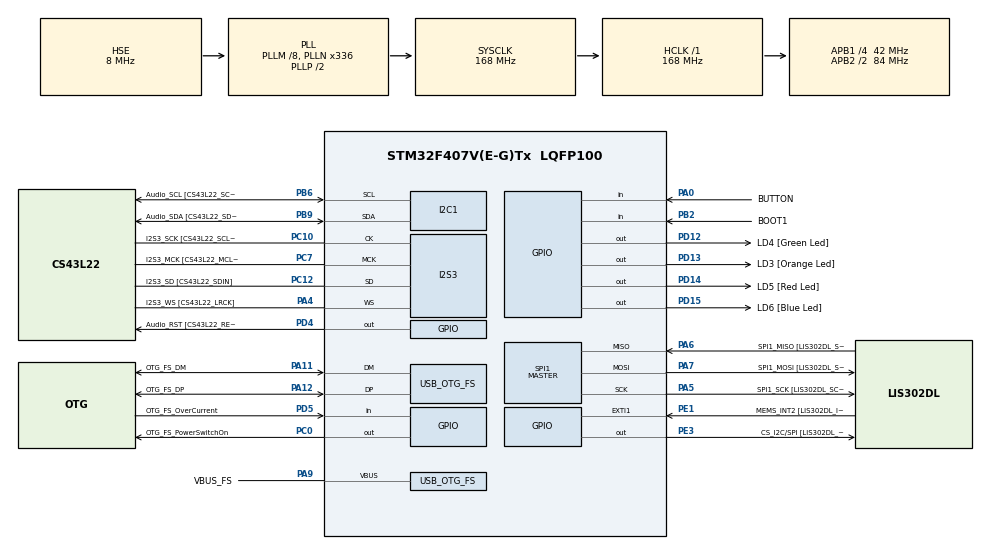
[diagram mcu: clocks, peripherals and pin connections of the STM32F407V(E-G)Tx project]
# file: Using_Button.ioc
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I2S3.AudioFreq-Half_Duplex_Master=I2S_AUDIOFREQ_96K
I2S3.ErrorAudioFreq=-2.34 %
I2S3.ErrorAudioFreq-Half_Duplex_Master=0.8 %
I2S3.FullDuplexMode=I2S_FULLDUPLEXMODE_DISABLE
I2S3.Instance=SPI$Index
I2S3.RealAudioFreq=93.75 KHz
I2S3.RealAudioFreq-Half_Duplex_Master=96.774 KHz
I2S3.VirtualMode=I2S_MODE_MASTER
Mcu.Family=STM32F4
Mcu.Name=STM32F407V(E-G)Tx
Mcu.Package=LQFP100
NVIC.OTG_FS_IRQn=true\:0\:0\:false\:false\:true\:true\:true\:true
NVIC.PriorityGroup=NVIC_PRIORITYGROUP_0
PA0-WKUP.GPIO_Label=BUTTON
PA0-WKUP.Signal=GPIO_Input
PA10.GPIO_Label=OTG_FS_ID
PA10.GPIO_Mode=GPIO_MODE_AF_PP
PA10.GPIO_PuPd=GPIO_NOPULL
PA10.GPIO_Speed=GPIO_SPEED_FREQ_LOW
PA10.Signal=USB_OTG_FS_ID
PA11.GPIO_Label=OTG_FS_DM
PA11.GPIO_Mode=GPIO_MODE_AF_PP
PA11.GPIO_PuPd=GPIO_NOPULL
PA11.GPIO_Speed=GPIO_SPEED_FREQ_LOW
PA11.Mode=Host_Only
PA11.Signal=USB_OTG_FS_DM
PA12.GPIO_Label=OTG_FS_DP
PA12.GPIO_Mode=GPIO_MODE_AF_PP
PA12.GPIO_PuPd=GPIO_NOPULL
PA12.GPIO_Speed=GPIO_SPEED_FREQ_LOW
PA12.Mode=Host_Only
PA12.Signal=USB_OTG_FS_DP
PA13.GPIO_Label=SWDIO
PA13.Mode=Serial_Wire
PA13.Signal=SYS_JTMS-SWDIO
PA14.GPIO_Label=SWCLK
PA14.Mode=Serial_Wire
PA14.Signal=SYS_JTCK-SWCLK
PA4.GPIO_Label=I2S3_WS [CS43L22_LRCK]
PA4.GPIO_Mode=GPIO_MODE_AF_PP
PA4.GPIO_PuPd=GPIO_NOPULL
PA4.GPIO_Speed=GPIO_SPEED_FREQ_LOW
PA4.Mode=Half_Duplex_Master
PA4.Signal=I2S3_WS
PA5.GPIO_Label=SPI1_SCK [LIS302DL_SCL/SPC]
PA5.GPIO_Mode=GPIO_MODE_AF_PP
PA5.GPIO_PuPd=GPIO_NOPULL
PA5.GPIO_Speed=GPIO_SPEED_FREQ_LOW
PA5.Mode=Full_Duplex_Master
PA5.Signal=SPI1_SCK
PA6.GPIO_Label=SPI1_MISO [LIS302DL_SDO]
PA6.GPIO_Mode=GPIO_MODE_AF_PP
PA6.GPIO_PuPd=GPIO_NOPULL
PA6.GPIO_Speed=GPIO_SPEED_FREQ_LOW
PA6.Mode=Full_Duplex_Master
PA6.Signal=SPI1_MISO
PA7.GPIO_Label=SPI1_MOSI [LIS302DL_SDA/SDI/SDO]
PA7.GPIO_Mode=GPIO_MODE_AF_PP
PA7.GPIO_PuPd=GPIO_NOPULL
PA7.GPIO_Speed=GPIO_SPEED_FREQ_LOW
PA7.Mode=Full_Duplex_Master
PA7.Signal=SPI1_MOSI
PA9.GPIO_Label=VBUS_FS
PA9.GPIO_Mode=GPIO_MODE_INPUT
PA9.GPIO_PuPd=GPIO_NOPULL
PA9.Mode=Activate_VBUS
PA9.Signal=USB_OTG_FS_VBUS
PB10.GPIO_Label=CLK_IN [MP45DT02_CLK]
PB10.GPIO_Mode=GPIO_MODE_AF_PP
PB10.GPIO_PuPd=GPIO_NOPULL
PB10.GPIO_Speed=GPIO_SPEED_FREQ_LOW
PB10.Signal=I2S2_CK
PB2.GPIO_Label=BOOT1
PB2.GPIO_Mode=GPIO_MODE_INPUT
PB2.GPIO_PuPd=GPIO_NOPULL
PB2.Signal=GPIO_Input
PB3.GPIO_Label=SWO
PB3.Signal=SYS_JTDO-SWO
PB6.GPIO_Label=Audio_SCL [CS43L22_SCL]
PB6.GPIO_Mode=GPIO_MODE_AF_OD
PB6.GPIO_Pu=GPIO_PULLUP
PB6.GPIO_PuPd=GPIO_NOPULL
PB6.GPIO_Speed=GPIO_SPEED_FREQ_LOW
PB6.Mode=I2C
PB6.Signal=I2C1_SCL
PB9.GPIO_Label=Audio_SDA [CS43L22_SDA]
PB9.GPIO_Mode=GPIO_MODE_AF_OD
PB9.GPIO_Pu=GPIO_PULLUP
PB9.GPIO_PuPd=GPIO_NOPULL
PB9.GPIO_Speed=GPIO_SPEED_FREQ_LOW
PB9.Mode=I2C
PB9.Signal=I2C1_SDA
PC0.GPIO_Label=OTG_FS_PowerSwitchOn
PC0.GPIO_PuPd=GPIO_NOPULL
PC0.GPIO_Speed=GPIO_SPEED_FREQ_LOW
PC0.PinState=GPIO_PIN_SET
PC0.Signal=GPIO_Output
PC10.GPIO_Label=I2S3_SCK [CS43L22_SCLK]
PC10.GPIO_Mode=GPIO_MODE_AF_PP
PC10.GPIO_PuPd=GPIO_NOPULL
PC10.GPIO_Speed=GPIO_SPEED_FREQ_LOW
PC10.Mode=Half_Duplex_Master
PC10.Signal=I2S3_CK
PC12.GPIO_Label=I2S3_SD [CS43L22_SDIN]
PC12.GPIO_Mode=GPIO_MODE_AF_PP
PC12.GPIO_PuPd=GPIO_NOPULL
PC12.GPIO_Speed=GPIO_SPEED_FREQ_LOW
PC12.Mode=Half_Duplex_Master
PC12.Signal=I2S3_SD
PC14-OSC32_IN.GPIO_Label=PC14-OSC32_IN
PC14-OSC32_IN.Mode=LSE-External-Oscillator
PC14-OSC32_IN.Signal=RCC_OSC32_IN
PC15-OSC32_OUT.GPIO_Label=PC15-OSC32_OUT
PC15-OSC32_OUT.Mode=LSE-External-Oscillator
PC15-OSC32_OUT.Signal=RCC_OSC32_OUT
PC3.GPIO_Label=PDM_OUT [MP45DT02_DOUT]
PC3.GPIO_Mode=GPIO_MODE_AF_PP
PC3.GPIO_PuPd=GPIO_NOPULL
PC3.GPIO_Speed=GPIO_SPEED_FREQ_LOW
PC3.Signal=I2S2_SD
PC7.GPIO_Label=I2S3_MCK [CS43L22_MCLK]
PC7.GPIO_Mode=GPIO_MODE_AF_PP
PC7.GPIO_PuPd=GPIO_NOPULL
PC7.GPIO_Speed=GPIO_SPEED_FREQ_LOW
PC7.Mode=Master_Clock_Activated
PC7.Signal=I2S3_MCK
PD12.GPIO_Label=LD4 [Green Led]
PD12.GPIO_PuPd=GPIO_NOPULL
PD12.GPIO_Speed=GPIO_SPEED_FREQ_LOW
PD12.Signal=GPIO_Output
PD13.GPIO_Label=LD3 [Orange Led]
PD13.GPIO_PuPd=GPIO_NOPULL
PD13.GPIO_Speed=GPIO_SPEED_FREQ_LOW
PD13.Signal=GPIO_Output
PD14.GPIO_Label=LD5 [Red Led]
PD14.GPIO_PuPd=GPIO_NOPULL
PD14.GPIO_Speed=GPIO_SPEED_FREQ_LOW
PD14.Signal=GPIO_Output
PD15.GPIO_Label=LD6 [Blue Led]
PD15.GPIO_PuPd=GPIO_NOPULL
PD15.GPIO_Speed=GPIO_SPEED_FREQ_LOW
PD15.Signal=GPIO_Output
PD4.GPIO_Label=Audio_RST [CS43L22_RESET]
PD4.GPIO_PuPd=GPIO_NOPULL
PD4.GPIO_Speed=GPIO_SPEED_FREQ_LOW
PD4.Signal=GPIO_Output
PD5.GPIO_Label=OTG_FS_OverCurrent
PD5.GPIO_Mode=GPIO_MODE_INPUT
PD5.GPIO_PuPd=GPIO_NOPULL
PD5.Signal=GPIO_Input
PE1.GPIO_Label=MEMS_INT2 [LIS302DL_INT2]
PE1.GPIO_ModeDefaultEXTI=GPIO_MODE_EVT_RISING
PE1.GPIO_PuPd=GPIO_NOPULL
PE1.Signal=GPXTI1
PE3.GPIO_Label=CS_I2C/SPI [LIS302DL_CS_I2C/SPI]
PE3.GPIO_PuPd=GPIO_NOPULL
PE3.GPIO_Speed=GPIO_SPEED_FREQ_LOW
PE3.Signal=GPIO_Output
PH0-OSC_IN.GPIO_Label=PH0-OSC_IN
PH0-OSC_IN.Mode=HSE-External-Oscillator
PH0-OSC_IN.Signal=RCC_OSC_IN
PH1-OSC_OUT.GPIO_Label=PH1-OSC_OUT
PH1-OSC_OUT.Mode=HSE-External-Oscillator
PH1-OSC_OUT.Signal=RCC_OSC_OUT
ProjectManager.HeapSize=0x200
ProjectManager.StackSize=0x400
ProjectManager.TargetToolchain=STM32CubeIDE
RCC.48MHZClocksFreq_Value=48000000
RCC.AHBFreq_Value=168000000
RCC.APB1CLKDivider=RCC_HCLK_DIV4
RCC.APB1Freq_Value=42000000
RCC.APB1TimFreq_Value=84000000
RCC.APB2CLKDivider=RCC_HCLK_DIV2
RCC.APB2Freq_Value=84000000
RCC.APB2TimFreq_Value=168000000
RCC.CortexFreq_Value=168000000
RCC.HCLKFreq_Value=168000000
RCC.HSE_VALUE=8000000
RCC.HSI_VALUE=16000000
RCC.PLLM=8
RCC.PLLN=336
RCC.PLLQ=7
RCC.SYSCLKFreq_VALUE=168000000
RCC.SYSCLKSource=RCC_SYSCLKSOURCE_PLLCLK
RCC.VCOOutputFreq_Value=336000000
SPI1.BaudRatePrescaler-Full_Duplex_Master=SPI_BAUDRATEPRESCALER_2
SPI1.CalculateBaudRate-Full_Duplex_Master=42.0 MBits/s
SPI1.Direction=SPI_DIRECTION_2LINES
SPI1.Mode=SPI_MODE_MASTER
SPI1.Mode-Full_Duplex_Master=SPI_MODE_MASTER
SPI1.VirtualType=VM_MASTER
USB_HOST.BSP.number=1
USB_HOST.USBH_HandleTypeDef-CDC_FS=hUsbHostFS
USB_HOST.VirtualModeFS=Cdc
USB_HOST0.BSP.STBoard=false
USB_HOST0.BSP.api=Unknown
USB_HOST0.BSP.instance=PC0
USB_HOST0.BSP.ip=GPIO
USB_HOST0.BSP.mode=Output
USB_HOST0.BSP.name=Drive_VBUS_FS
USB_HOST0.BSP.solution=PC0
USB_OTG_FS.VirtualMode=Host_Only
USB_OTG_FS.phy_itface=HCD_PHY_EMBEDDED
VP_USB_HOST_VS_USB_HOST_CDC_FS.Mode=CDC_FS
board=STM32F407G-DISC1

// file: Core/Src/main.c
/* USER CODE BEGIN Header */
/**
  ******************************************************************************
  * @file           : main.c
  * @brief          : Main program body
  ******************************************************************************
  * @attention
  *
  * Copyright (c) 2024 STMicroelectronics.
  * All rights reserved.
  *
  * This software is licensed under terms that can be found in the LICENSE file
  * in the root directory of this software component.
  * If no LICENSE file comes with this software, it is provided AS-IS.
  *
  ******************************************************************************
  */
/* USER CODE END Header */
#include "main.h"
#include "usb_host.h"

I2C_HandleTypeDef hi2c1;

I2S_HandleTypeDef hi2s3;

SPI_HandleTypeDef hspi1;

/* USER CODE BEGIN PV */

int delay = 500;

/* USER CODE END PV */

void SystemClock_Config(void);
static void MX_GPIO_Init(void);
static void MX_I2C1_Init(void);
static void MX_I2S3_Init(void);
static void MX_SPI1_Init(void);
void MX_USB_HOST_Process(void);

int main(void)
{

  /* MCU Configuration--------------------------------------------------------*/

  /* Reset of all peripherals, Initializes the Flash interface and the Systick. */
  HAL_Init();

  /* Configure the system clock */
  SystemClock_Config();

  /* Initialize all configured peripherals */
  MX_GPIO_Init();
  MX_I2C1_Init();
  MX_I2S3_Init();
  MX_SPI1_Init();
  MX_USB_HOST_Init();

  /* Infinite loop */
  while (1)
  {
    MX_USB_HOST_Process();

    /* USER CODE BEGIN 3 */
    		// using button
     	  /*  if(HAL_GPIO_ReadPin(BUTTON_GPIO_Port, BUTTON_Pin))
     	    {
     	    	HAL_GPIO_WritePin(LD3_GPIO_Port, LD3_Pin, 1);
     	    	HAL_GPIO_WritePin(LD4_GPIO_Port, LD4_Pin, 0);

     	    }
     	    else
     	    {
     	    	HAL_GPIO_WritePin(LD4_GPIO_Port, LD4_Pin, 1);
     	    	HAL_GPIO_WritePin(LD3_GPIO_Port, LD3_Pin, 0);
     	    } */
    // kara şimşek
    	if(HAL_GPIO_ReadPin(BUTTON_GPIO_Port, BUTTON_Pin))
    	{
    		delay = delay-100;
    		HAL_Delay(delay);
 	    	HAL_GPIO_WritePin(LD4_GPIO_Port, LD4_Pin, 1);
    		HAL_Delay(delay);
 	    	HAL_GPIO_WritePin(LD3_GPIO_Port, LD3_Pin, 1);
    		HAL_Delay(delay);
 	    	HAL_GPIO_WritePin(LD5_GPIO_Port, LD5_Pin, 1);
    		HAL_Delay(delay);
 	    	HAL_GPIO_WritePin(LD6_GPIO_Port, LD6_Pin, 1);
    		HAL_Delay(delay);
 	    	HAL_GPIO_WritePin(LD4_GPIO_Port, LD4_Pin, 0);
    		HAL_Delay(delay);
 	    	HAL_GPIO_WritePin(LD3_GPIO_Port, LD3_Pin, 0);
    		HAL_Delay(delay);
 	    	HAL_GPIO_WritePin(LD5_GPIO_Port, LD5_Pin, 0);
    		HAL_Delay(delay);
    		HAL_GPIO_WritePin(LD6_GPIO_Port, LD6_Pin, 0);
    		HAL_Delay(delay);
    		 	    	HAL_GPIO_WritePin(LD6_GPIO_Port, LD6_Pin, 1);
    		    		HAL_Delay(delay);
    		 	    	HAL_GPIO_WritePin(LD5_GPIO_Port, LD5_Pin, 1);
    		    		HAL_Delay(delay);
    		 	    	HAL_GPIO_WritePin(LD3_GPIO_Port, LD3_Pin, 1);
    		    		HAL_Delay(delay);
    		 	    	HAL_GPIO_WritePin(LD4_GPIO_Port, LD4_Pin, 1);
    		    		HAL_Delay(delay);
    		 	    	HAL_GPIO_WritePin(LD6_GPIO_Port, LD6_Pin, 0);
    		    		HAL_Delay(delay);
    		 	    	HAL_GPIO_WritePin(LD5_GPIO_Port, LD5_Pin, 0);
    		    		HAL_Delay(delay);
    		 	    	HAL_GPIO_WritePin(LD3_GPIO_Port, LD3_Pin, 0);
    		    		HAL_Delay(delay);
    		    		HAL_GPIO_WritePin(LD4_GPIO_Port, LD4_Pin, 0);
    		    		HAL_Delay(delay);

    	}

  }
  /* USER CODE END 3 */
}

void SystemClock_Config(void)
{
  RCC_OscInitTypeDef RCC_OscInitStruct = {0};
  RCC_ClkInitTypeDef RCC_ClkInitStruct = {0};

  /** Configure the main internal regulator output voltage
  */
  __HAL_RCC_PWR_CLK_ENABLE();
  __HAL_PWR_VOLTAGESCALING_CONFIG(PWR_REGULATOR_VOLTAGE_SCALE1);

  /** Initializes the RCC Oscillators according to the specified parameters
  * in the RCC_OscInitTypeDef structure.
  */
  RCC_OscInitStruct.OscillatorType = RCC_OSCILLATORTYPE_HSE;
  RCC_OscInitStruct.HSEState = RCC_HSE_ON;
  RCC_OscInitStruct.PLL.PLLState = RCC_PLL_ON;
  RCC_OscInitStruct.PLL.PLLSource = RCC_PLLSOURCE_HSE;
  RCC_OscInitStruct.PLL.PLLM = 8;
  RCC_OscInitStruct.PLL.PLLN = 336;
  RCC_OscInitStruct.PLL.PLLP = RCC_PLLP_DIV2;
  RCC_OscInitStruct.PLL.PLLQ = 7;
  if (HAL_RCC_OscConfig(&RCC_OscInitStruct) != HAL_OK)
  {
    Error_Handler();
  }

  /** Initializes the CPU, AHB and APB buses clocks
  */
  RCC_ClkInitStruct.ClockType = RCC_CLOCKTYPE_HCLK|RCC_CLOCKTYPE_SYSCLK
                              |RCC_CLOCKTYPE_PCLK1|RCC_CLOCKTYPE_PCLK2;
  RCC_ClkInitStruct.SYSCLKSource = RCC_SYSCLKSOURCE_PLLCLK;
  RCC_ClkInitStruct.AHBCLKDivider = RCC_SYSCLK_DIV1;
  RCC_ClkInitStruct.APB1CLKDivider = RCC_HCLK_DIV4;
  RCC_ClkInitStruct.APB2CLKDivider = RCC_HCLK_DIV2;

  if (HAL_RCC_ClockConfig(&RCC_ClkInitStruct, FLASH_LATENCY_5) != HAL_OK)
  {
    Error_Handler();
  }
}

static void MX_I2C1_Init(void)
{

  hi2c1.Instance = I2C1;
  hi2c1.Init.ClockSpeed = 100000;
  hi2c1.Init.DutyCycle = I2C_DUTYCYCLE_2;
  hi2c1.Init.OwnAddress1 = 0;
  hi2c1.Init.AddressingMode = I2C_ADDRESSINGMODE_7BIT;
  hi2c1.Init.DualAddressMode = I2C_DUALADDRESS_DISABLE;
  hi2c1.Init.OwnAddress2 = 0;
  hi2c1.Init.GeneralCallMode = I2C_GENERALCALL_DISABLE;
  hi2c1.Init.NoStretchMode = I2C_NOSTRETCH_DISABLE;
  if (HAL_I2C_Init(&hi2c1) != HAL_OK)
  {
    Error_Handler();
  }

}

static void MX_I2S3_Init(void)
{

  hi2s3.Instance = SPI3;
  hi2s3.Init.Mode = I2S_MODE_MASTER_TX;
  hi2s3.Init.Standard = I2S_STANDARD_PHILIPS;
  hi2s3.Init.DataFormat = I2S_DATAFORMAT_16B;
  hi2s3.Init.MCLKOutput = I2S_MCLKOUTPUT_ENABLE;
  hi2s3.Init.AudioFreq = I2S_AUDIOFREQ_96K;
  hi2s3.Init.CPOL = I2S_CPOL_LOW;
  hi2s3.Init.ClockSource = I2S_CLOCK_PLL;
  hi2s3.Init.FullDuplexMode = I2S_FULLDUPLEXMODE_DISABLE;
  if (HAL_I2S_Init(&hi2s3) != HAL_OK)
  {
    Error_Handler();
  }

}

static void MX_SPI1_Init(void)
{

  /* SPI1 parameter configuration*/
  hspi1.Instance = SPI1;
  hspi1.Init.Mode = SPI_MODE_MASTER;
  hspi1.Init.Direction = SPI_DIRECTION_2LINES;
  hspi1.Init.DataSize = SPI_DATASIZE_8BIT;
  hspi1.Init.CLKPolarity = SPI_POLARITY_LOW;
  hspi1.Init.CLKPhase = SPI_PHASE_1EDGE;
  hspi1.Init.NSS = SPI_NSS_SOFT;
  hspi1.Init.BaudRatePrescaler = SPI_BAUDRATEPRESCALER_2;
  hspi1.Init.FirstBit = SPI_FIRSTBIT_MSB;
  hspi1.Init.TIMode = SPI_TIMODE_DISABLE;
  hspi1.Init.CRCCalculation = SPI_CRCCALCULATION_DISABLE;
  hspi1.Init.CRCPolynomial = 10;
  if (HAL_SPI_Init(&hspi1) != HAL_OK)
  {
    Error_Handler();
  }

}

static void MX_GPIO_Init(void)
{
  GPIO_InitTypeDef GPIO_InitStruct = {0};

  /* GPIO Ports Clock Enable */
  __HAL_RCC_GPIOE_CLK_ENABLE();
  __HAL_RCC_GPIOC_CLK_ENABLE();
  __HAL_RCC_GPIOH_CLK_ENABLE();
  __HAL_RCC_GPIOA_CLK_ENABLE();
  __HAL_RCC_GPIOB_CLK_ENABLE();
  __HAL_RCC_GPIOD_CLK_ENABLE();

  /*Configure GPIO pin Output Level */
  HAL_GPIO_WritePin(CS_I2C_SPI_GPIO_Port, CS_I2C_SPI_Pin, GPIO_PIN_RESET);

  /*Configure GPIO pin Output Level */
  HAL_GPIO_WritePin(OTG_FS_PowerSwitchOn_GPIO_Port, OTG_FS_PowerSwitchOn_Pin, GPIO_PIN_SET);

  /*Configure GPIO pin Output Level */
  HAL_GPIO_WritePin(GPIOD, LD4_Pin|LD3_Pin|LD5_Pin|LD6_Pin
                          |Audio_RST_Pin, GPIO_PIN_RESET);

  /*Configure GPIO pin : CS_I2C_SPI_Pin */
  GPIO_InitStruct.Pin = CS_I2C_SPI_Pin;
  GPIO_InitStruct.Mode = GPIO_MODE_OUTPUT_PP;
  GPIO_InitStruct.Pull = GPIO_NOPULL;
  GPIO_InitStruct.Speed = GPIO_SPEED_FREQ_LOW;
  HAL_GPIO_Init(CS_I2C_SPI_GPIO_Port, &GPIO_InitStruct);

  /*Configure GPIO pin : OTG_FS_PowerSwitchOn_Pin */
  GPIO_InitStruct.Pin = OTG_FS_PowerSwitchOn_Pin;
  GPIO_InitStruct.Mode = GPIO_MODE_OUTPUT_PP;
  GPIO_InitStruct.Pull = GPIO_NOPULL;
  GPIO_InitStruct.Speed = GPIO_SPEED_FREQ_LOW;
  HAL_GPIO_Init(OTG_FS_PowerSwitchOn_GPIO_Port, &GPIO_InitStruct);

  /*Configure GPIO pin : PDM_OUT_Pin */
  GPIO_InitStruct.Pin = PDM_OUT_Pin;
  GPIO_InitStruct.Mode = GPIO_MODE_AF_PP;
  GPIO_InitStruct.Pull = GPIO_NOPULL;
  GPIO_InitStruct.Speed = GPIO_SPEED_FREQ_LOW;
  GPIO_InitStruct.Alternate = GPIO_AF5_SPI2;
  HAL_GPIO_Init(PDM_OUT_GPIO_Port, &GPIO_InitStruct);

  /*Configure GPIO pin : BUTTON_Pin */
  GPIO_InitStruct.Pin = BUTTON_Pin;
  GPIO_InitStruct.Mode = GPIO_MODE_INPUT;
  GPIO_InitStruct.Pull = GPIO_NOPULL;
  HAL_GPIO_Init(BUTTON_GPIO_Port, &GPIO_InitStruct);

  /*Configure GPIO pin : BOOT1_Pin */
  GPIO_InitStruct.Pin = BOOT1_Pin;
  GPIO_InitStruct.Mode = GPIO_MODE_INPUT;
  GPIO_InitStruct.Pull = GPIO_NOPULL;
  HAL_GPIO_Init(BOOT1_GPIO_Port, &GPIO_InitStruct);

  /*Configure GPIO pin : CLK_IN_Pin */
  GPIO_InitStruct.Pin = CLK_IN_Pin;
  GPIO_InitStruct.Mode = GPIO_MODE_AF_PP;
  GPIO_InitStruct.Pull = GPIO_NOPULL;
  GPIO_InitStruct.Speed = GPIO_SPEED_FREQ_LOW;
  GPIO_InitStruct.Alternate = GPIO_AF5_SPI2;
  HAL_GPIO_Init(CLK_IN_GPIO_Port, &GPIO_InitStruct);

  /*Configure GPIO pins : LD4_Pin LD3_Pin LD5_Pin LD6_Pin
                           Audio_RST_Pin */
  GPIO_InitStruct.Pin = LD4_Pin|LD3_Pin|LD5_Pin|LD6_Pin
                          |Audio_RST_Pin;
  GPIO_InitStruct.Mode = GPIO_MODE_OUTPUT_PP;
  GPIO_InitStruct.Pull = GPIO_NOPULL;
  GPIO_InitStruct.Speed = GPIO_SPEED_FREQ_LOW;
  HAL_GPIO_Init(GPIOD, &GPIO_InitStruct);

  /*Configure GPIO pin : OTG_FS_OverCurrent_Pin */
  GPIO_InitStruct.Pin = OTG_FS_OverCurrent_Pin;
  GPIO_InitStruct.Mode = GPIO_MODE_INPUT;
  GPIO_InitStruct.Pull = GPIO_NOPULL;
  HAL_GPIO_Init(OTG_FS_OverCurrent_GPIO_Port, &GPIO_InitStruct);

  /*Configure GPIO pin : MEMS_INT2_Pin */
  GPIO_InitStruct.Pin = MEMS_INT2_Pin;
  GPIO_InitStruct.Mode = GPIO_MODE_EVT_RISING;
  GPIO_InitStruct.Pull = GPIO_NOPULL;
  HAL_GPIO_Init(MEMS_INT2_GPIO_Port, &GPIO_InitStruct);

}

void Error_Handler(void)
{
  __disable_irq();
  while (1)
  {
  }
}
